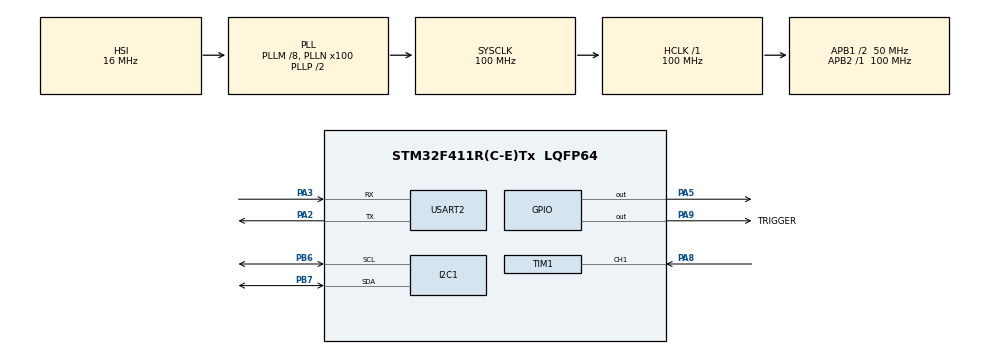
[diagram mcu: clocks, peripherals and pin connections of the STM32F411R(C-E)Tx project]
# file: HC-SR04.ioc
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Mcu.Family=STM32F4
Mcu.Name=STM32F411R(C-E)Tx
Mcu.Package=LQFP64
NVIC.PriorityGroup=NVIC_PRIORITYGROUP_4
NVIC.TIM1_CC_IRQn=true\:0\:0\:false\:false\:true\:true\:true\:true
PA13.Mode=Serial_Wire
PA13.Signal=SYS_JTMS-SWDIO
PA14.Mode=Serial_Wire
PA14.Signal=SYS_JTCK-SWCLK
PA2.Mode=Asynchronous
PA2.Signal=USART2_TX
PA3.Mode=Asynchronous
PA3.Signal=USART2_RX
PA5.Signal=GPIO_Output
PA8.Signal=S_TIM1_CH1
PA9.GPIO_Label=TRIGGER
PA9.Signal=GPIO_Output
PB6.Mode=I2C
PB6.Signal=I2C1_SCL
PB7.Mode=I2C
PB7.Signal=I2C1_SDA
ProjectManager.HeapSize=0x200
ProjectManager.StackSize=0x400
ProjectManager.TargetToolchain=STM32CubeIDE
RCC.48MHZClocksFreq_Value=50000000
RCC.AHBFreq_Value=100000000
RCC.APB1CLKDivider=RCC_HCLK_DIV2
RCC.APB1Freq_Value=50000000
RCC.APB1TimFreq_Value=100000000
RCC.APB2Freq_Value=100000000
RCC.APB2TimFreq_Value=100000000
RCC.CortexFreq_Value=100000000
RCC.HCLKFreq_Value=100000000
RCC.HSE_VALUE=25000000
RCC.HSI_VALUE=16000000
RCC.LSE_VALUE=32768
RCC.PLLM=8
RCC.PLLN=100
RCC.SYSCLKFreq_VALUE=100000000
RCC.SYSCLKSource=RCC_SYSCLKSOURCE_PLLCLK
RCC.VCOOutputFreq_Value=200000000
SH.S_TIM1_CH1.0=TIM1_CH1,Input_Capture1_from_TI1
TIM1.Channel-Input_Capture1_from_TI1=TIM_CHANNEL_1
TIM1.Prescaler=99
TIM2.Period=999999
TIM2.Prescaler=99
USART2.VirtualMode=VM_ASYNC
VP_TIM1_VS_ClockSourceINT.Mode=Internal
VP_TIM2_VS_ClockSourceINT.Mode=Internal
board=custom

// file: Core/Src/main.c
/* USER CODE BEGIN Header */
/**
  ******************************************************************************
  * @file           : main.c
  * @brief          : Main program body
  ******************************************************************************
  */
/* USER CODE END Header */
#include "main.h"

/* USER CODE BEGIN Includes */
#include "CLCD_I2C.h" // Thêm thư viện LCD
#include "ultrasonic.h"
#include "timer_delay.h"

/* USER CODE END Includes */

I2C_HandleTypeDef hi2c1;

TIM_HandleTypeDef htim1;
TIM_HandleTypeDef htim2;

UART_HandleTypeDef huart2;

/* USER CODE BEGIN PV */
CLCD_I2C_Name myLCD;
/* USER CODE END PV */

void SystemClock_Config(void);
static void MX_GPIO_Init(void);
static void MX_TIM1_Init(void);
static void MX_USART2_UART_Init(void);
static void MX_I2C1_Init(void);
static void MX_TIM2_Init(void);

int main(void)
{
  /* USER CODE BEGIN 1 */
  char buffer[20]; // Buffer để lưu chuỗi ký tự
  /* USER CODE END 1 */

  /* MCU Configuration--------------------------------------------------------*/

  /* Reset of all peripherals, Initializes the Flash interface and the Systick. */
  HAL_Init();

  /* Configure the system clock */
  SystemClock_Config();

  /* Initialize all configured peripherals */
  MX_GPIO_Init();
  MX_TIM1_Init();
  MX_USART2_UART_Init();
  MX_I2C1_Init();
  MX_TIM2_Init();
  /* USER CODE BEGIN 2 */
  ultrasonic_init(&htim1);  // Khởi tạo cảm biến
  // Khởi tạo LCD (16x2, địa chỉ I2C 0x27)
  CLCD_I2C_Init(&myLCD, &hi2c1, 0x27 << 1, 16, 2);
  // Khoi tao timer
  timer_delay_init(&htim2);

  // Hiển thị tiêu đề ban đầu trên LCD
  CLCD_I2C_SetCursor(&myLCD, 0, 0);
  CLCD_I2C_WriteString(&myLCD, "Object: ");
  CLCD_I2C_SetCursor(&myLCD, 0, 1);
  CLCD_I2C_WriteString(&myLCD, "Distance: ");
  /* USER CODE END 2 */

  /* Infinite loop */
  while (1)
  {

    /* USER CODE BEGIN 3 */
    // Lấy giá trị khoảng cách từ cảm biến
    uint8_t distance = get_distance();

    // Xác định trạng thái vật cản
    uint8_t object_detected = (distance < 50 && distance != 0) ? 1 : 0;

    // Hiển thị trạng thái vật cản trên LCD
    CLCD_I2C_SetCursor(&myLCD, 8, 0);
    sprintf(buffer, "%d", object_detected);
    CLCD_I2C_WriteString(&myLCD, buffer);

    // Chuyển đổi khoảng cách thành chuỗi và hiển thị trên LCD
    sprintf(buffer, "%3d cm    ", distance);
    CLCD_I2C_SetCursor(&myLCD, 10, 1);
    CLCD_I2C_WriteString(&myLCD, buffer);

    led_control(object_detected, distance);

    // Delay 500ms trước khi đo lần tiếp theo
    delay_ms(100);
  }
  /* USER CODE END 3 */
}

void SystemClock_Config(void)
{
  RCC_OscInitTypeDef RCC_OscInitStruct = {0};
  RCC_ClkInitTypeDef RCC_ClkInitStruct = {0};

  /** Configure the main internal regulator output voltage
  */
  __HAL_RCC_PWR_CLK_ENABLE();
  __HAL_PWR_VOLTAGESCALING_CONFIG(PWR_REGULATOR_VOLTAGE_SCALE1);

  /** Initializes the RCC Oscillators according to the specified parameters
  * in the RCC_OscInitTypeDef structure.
  */
  RCC_OscInitStruct.OscillatorType = RCC_OSCILLATORTYPE_HSI;
  RCC_OscInitStruct.HSIState = RCC_HSI_ON;
  RCC_OscInitStruct.HSICalibrationValue = RCC_HSICALIBRATION_DEFAULT;
  RCC_OscInitStruct.PLL.PLLState = RCC_PLL_ON;
  RCC_OscInitStruct.PLL.PLLSource = RCC_PLLSOURCE_HSI;
  RCC_OscInitStruct.PLL.PLLM = 8;
  RCC_OscInitStruct.PLL.PLLN = 100;
  RCC_OscInitStruct.PLL.PLLP = RCC_PLLP_DIV2;
  RCC_OscInitStruct.PLL.PLLQ = 4;
  if (HAL_RCC_OscConfig(&RCC_OscInitStruct) != HAL_OK)
  {
    Error_Handler();
  }

  /** Initializes the CPU, AHB and APB buses clocks
  */
  RCC_ClkInitStruct.ClockType = RCC_CLOCKTYPE_HCLK|RCC_CLOCKTYPE_SYSCLK
                              |RCC_CLOCKTYPE_PCLK1|RCC_CLOCKTYPE_PCLK2;
  RCC_ClkInitStruct.SYSCLKSource = RCC_SYSCLKSOURCE_PLLCLK;
  RCC_ClkInitStruct.AHBCLKDivider = RCC_SYSCLK_DIV1;
  RCC_ClkInitStruct.APB1CLKDivider = RCC_HCLK_DIV2;
  RCC_ClkInitStruct.APB2CLKDivider = RCC_HCLK_DIV1;

  if (HAL_RCC_ClockConfig(&RCC_ClkInitStruct, FLASH_LATENCY_3) != HAL_OK)
  {
    Error_Handler();
  }
}

static void MX_I2C1_Init(void)
{

  hi2c1.Instance = I2C1;
  hi2c1.Init.ClockSpeed = 100000;
  hi2c1.Init.DutyCycle = I2C_DUTYCYCLE_2;
  hi2c1.Init.OwnAddress1 = 0;
  hi2c1.Init.AddressingMode = I2C_ADDRESSINGMODE_7BIT;
  hi2c1.Init.DualAddressMode = I2C_DUALADDRESS_DISABLE;
  hi2c1.Init.OwnAddress2 = 0;
  hi2c1.Init.GeneralCallMode = I2C_GENERALCALL_DISABLE;
  hi2c1.Init.NoStretchMode = I2C_NOSTRETCH_DISABLE;
  if (HAL_I2C_Init(&hi2c1) != HAL_OK)
  {
    Error_Handler();
  }
}

static void MX_TIM1_Init(void)
{

  TIM_ClockConfigTypeDef sClockSourceConfig = {0};
  TIM_MasterConfigTypeDef sMasterConfig = {0};
  TIM_IC_InitTypeDef sConfigIC = {0};

  htim1.Instance = TIM1;
  htim1.Init.Prescaler = 99;
  htim1.Init.CounterMode = TIM_COUNTERMODE_UP;
  htim1.Init.Period = 65535;
  htim1.Init.ClockDivision = TIM_CLOCKDIVISION_DIV1;
  htim1.Init.RepetitionCounter = 0;
  htim1.Init.AutoReloadPreload = TIM_AUTORELOAD_PRELOAD_DISABLE;
  if (HAL_TIM_Base_Init(&htim1) != HAL_OK)
  {
    Error_Handler();
  }
  sClockSourceConfig.ClockSource = TIM_CLOCKSOURCE_INTERNAL;
  if (HAL_TIM_ConfigClockSource(&htim1, &sClockSourceConfig) != HAL_OK)
  {
    Error_Handler();
  }
  if (HAL_TIM_IC_Init(&htim1) != HAL_OK)
  {
    Error_Handler();
  }
  sMasterConfig.MasterOutputTrigger = TIM_TRGO_RESET;
  sMasterConfig.MasterSlaveMode = TIM_MASTERSLAVEMODE_DISABLE;
  if (HAL_TIMEx_MasterConfigSynchronization(&htim1, &sMasterConfig) != HAL_OK)
  {
    Error_Handler();
  }
  sConfigIC.ICPolarity = TIM_INPUTCHANNELPOLARITY_RISING;
  sConfigIC.ICSelection = TIM_ICSELECTION_DIRECTTI;
  sConfigIC.ICPrescaler = TIM_ICPSC_DIV1;
  sConfigIC.ICFilter = 0;
  if (HAL_TIM_IC_ConfigChannel(&htim1, &sConfigIC, TIM_CHANNEL_1) != HAL_OK)
  {
    Error_Handler();
  }
}

static void MX_TIM2_Init(void)
{

  TIM_ClockConfigTypeDef sClockSourceConfig = {0};
  TIM_MasterConfigTypeDef sMasterConfig = {0};

  htim2.Instance = TIM2;
  htim2.Init.Prescaler = 99;
  htim2.Init.CounterMode = TIM_COUNTERMODE_UP;
  htim2.Init.Period = 999999;
  htim2.Init.ClockDivision = TIM_CLOCKDIVISION_DIV1;
  htim2.Init.AutoReloadPreload = TIM_AUTORELOAD_PRELOAD_DISABLE;
  if (HAL_TIM_Base_Init(&htim2) != HAL_OK)
  {
    Error_Handler();
  }
  sClockSourceConfig.ClockSource = TIM_CLOCKSOURCE_INTERNAL;
  if (HAL_TIM_ConfigClockSource(&htim2, &sClockSourceConfig) != HAL_OK)
  {
    Error_Handler();
  }
  sMasterConfig.MasterOutputTrigger = TIM_TRGO_RESET;
  sMasterConfig.MasterSlaveMode = TIM_MASTERSLAVEMODE_DISABLE;
  if (HAL_TIMEx_MasterConfigSynchronization(&htim2, &sMasterConfig) != HAL_OK)
  {
    Error_Handler();
  }
}

static void MX_USART2_UART_Init(void)
{

  huart2.Instance = USART2;
  huart2.Init.BaudRate = 115200;
  huart2.Init.WordLength = UART_WORDLENGTH_8B;
  huart2.Init.StopBits = UART_STOPBITS_1;
  huart2.Init.Parity = UART_PARITY_NONE;
  huart2.Init.Mode = UART_MODE_TX_RX;
  huart2.Init.HwFlowCtl = UART_HWCONTROL_NONE;
  huart2.Init.OverSampling = UART_OVERSAMPLING_16;
  if (HAL_UART_Init(&huart2) != HAL_OK)
  {
    Error_Handler();
  }
}

static void MX_GPIO_Init(void)
{
  GPIO_InitTypeDef GPIO_InitStruct = {0};

  /* GPIO Ports Clock Enable */
  __HAL_RCC_GPIOA_CLK_ENABLE();
  __HAL_RCC_GPIOB_CLK_ENABLE();

  /*Configure GPIO pin Output Level */
  HAL_GPIO_WritePin(GPIOA, GPIO_PIN_5|TRIGGER_Pin, GPIO_PIN_RESET);

  /*Configure GPIO pins : PA5 TRIGGER_Pin */
  GPIO_InitStruct.Pin = GPIO_PIN_5|TRIGGER_Pin;
  GPIO_InitStruct.Mode = GPIO_MODE_OUTPUT_PP;
  GPIO_InitStruct.Pull = GPIO_NOPULL;
  GPIO_InitStruct.Speed = GPIO_SPEED_FREQ_LOW;
  HAL_GPIO_Init(GPIOA, &GPIO_InitStruct);

}

void Error_Handler(void)
{
  __disable_irq();
  while (1)
  {
  }
}
